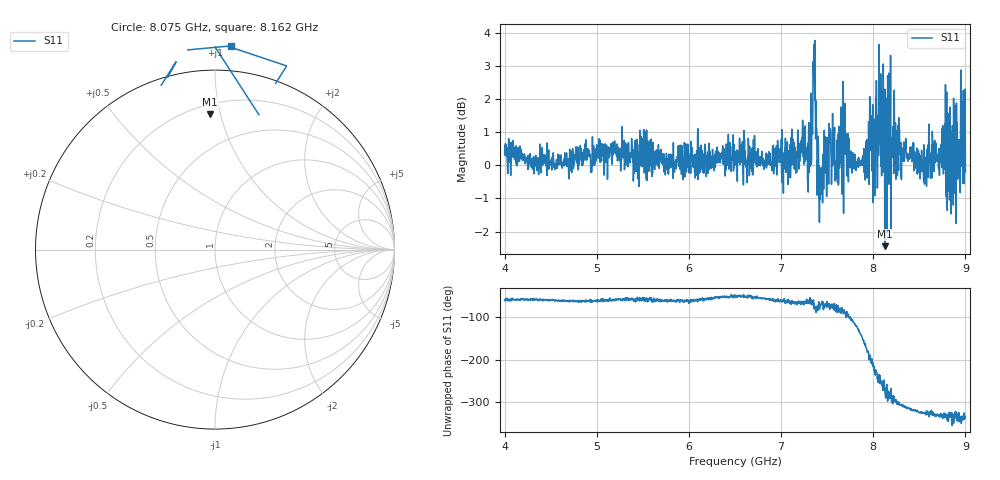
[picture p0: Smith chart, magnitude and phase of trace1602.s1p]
! Created with skrf 1.8.0 (http://scikit-rf.org).
# Hz S RI R 50.0
!freq ReS11 ImS11
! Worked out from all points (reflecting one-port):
!   1601 points, 4 GHz to 9 GHz, reference 50 ohm
!   lowest |S11| = -2.4 dB at 8.125 GHz (marker M1), VSWR 7.17, Z = 13.2 + j46.5 ohm
!   phase of S11 starts at -59 deg and turns -277 deg over the sweep
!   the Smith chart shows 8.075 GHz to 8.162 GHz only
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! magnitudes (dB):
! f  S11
! 4 GHz  0.4
! 4.625 GHz  -0.1
! 5.25 GHz  0.2
! 5.875 GHz  0.3
! 6.5 GHz  0.2
! 7.125 GHz  0.4
! 7.238 GHz  0.4
! 7.294 GHz  -0.8
! 7.359 GHz  2.5
! 7.4 GHz  -0.1
! 7.434 GHz  -0.9
! 7.509 GHz  0.0
! 7.609 GHz  0.8
! 7.675 GHz  0.8
! 7.75 GHz  -0.1
! 7.912 GHz  -0.4
! 7.969 GHz  0.5
! 8.022 GHz  -0.3
! 8.088 GHz  0.6
! 8.125 GHz  -2.4
! 8.162 GHz  1.1
! 8.216 GHz  1.2
! 8.375 GHz  0.4
! 8.553 GHz  -0.1
! 8.759 GHz  0.1
! 8.875 GHz  0.8
! 8.972 GHz  0.2
! 9 GHz  -0.2
